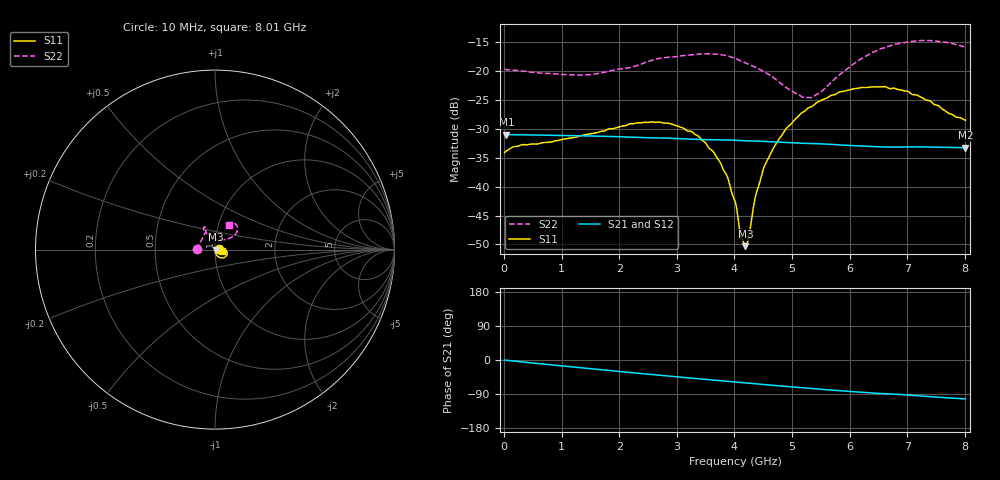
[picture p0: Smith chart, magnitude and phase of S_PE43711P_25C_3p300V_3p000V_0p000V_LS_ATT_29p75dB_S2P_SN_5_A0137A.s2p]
! Device ID: PE43711P
! File Path: z:\PE43711P\CHAR_NOM_04282014\AMB\3p300\LS_ATT_29p75dB\PE43711P_AMB_3p300V_3p000V_0p000V_LS_ATT_29p75dB_S2P_SN_5_A0137A.s2p
! Serial: 5
! Lot: A0137A
! Temp: 25C
! VDD: 3.300
! VSS: 0.000
! Control_Hi: 3.000
! Control_Lo: 0.000
! Attenuation Step: 29.75dB
! Port 1: RF1
! Port 2: RF2
! ThroughPath:1-2
! IDD: 0.0001277156
! ISS: -9.47e-008
#  Hz  S  RI  R  50
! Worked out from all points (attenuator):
!   801 points, 10 MHz to 8.01 GHz, reference 50 ohm
!   highest |S21| = -31.03 dB at 40 MHz (marker M1); lowest = -33.3 dB at 8.01 GHz (marker M2)
!   lowest |S11| = -50.3 dB at 4.19 GHz (marker M3), VSWR 1.01, Z = 50.3 - j0.0949 ohm
!   |S11| at or under -10 dB: start of sweep to end of sweep
!   |S22| runs from -24.7 to -14.8 dB; largest |S21 - S12| = 0.0001
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1e7  0.0196 0.00057  0.0281 -8.8e-05  0.0281 -0.000124  -0.1029 0.000789
4e7  0.0203 0.00111  0.0281 -0.000322  0.0281 -0.000326  -0.1021 0.00238
1.35e9  0.0266 0.00714  0.0257 -0.00967  0.0257 -0.00966  -0.0767 0.0502
2.68e9  0.032 0.0167  0.0202 -0.0168  0.0202 -0.0168  -0.0521 0.1163
3.25e9  0.0235 0.0184  0.0172 -0.019  0.0173 -0.019  -0.0544 0.1258
3.49e9  0.0173 0.0166  0.0161 -0.0197  0.0161 -0.0197  -0.0583 0.1272
3.76e9  0.0102 0.0122  0.0147 -0.0205  0.0147 -0.0205  -0.0624 0.1228
3.88e9  0.00753 0.00937  0.0141 -0.0209  0.0141 -0.0209  -0.0632 0.1181
4.01e9  0.00517 0.00539  0.0133 -0.0213  0.0133 -0.0213  -0.0626 0.1115
4.12e9  0.0034 0.00114  0.0127 -0.0215  0.0127 -0.0215  -0.0595 0.1053
4.19e9  0.00291 -0.000943  0.0123 -0.0216  0.0123 -0.0216  -0.057 0.1021
4.25e9  0.00221 -0.003  0.012 -0.0217  0.012 -0.0217  -0.0545 0.0996
4.38e9  0.00171 -0.00866  0.0113 -0.022  0.0113 -0.022  -0.0493 0.0941
4.55e9  0.00274 -0.0159  0.0103 -0.0222  0.0103 -0.0222  -0.0414 0.0864
4.9e9  0.0087 -0.0305  0.00829 -0.0225  0.0083 -0.0225  -0.0188 0.069
5.19e9  0.0182 -0.0399  0.00682 -0.0226  0.00682 -0.0226  0.00493 0.0588
5.35e9  0.0242 -0.043  0.006 -0.0227  0.00601 -0.0227  0.0213 0.0548
5.85e9  0.0478 -0.0455  0.00344 -0.0226  0.00345 -0.0226  0.0727 0.0603
6.26e9  0.0615 -0.0366  0.00173 -0.0223  0.00172 -0.0223  0.106 0.0781
6.68e9  0.0672 -0.0214  0.000254 -0.0219  0.000275 -0.0219  0.124 0.1059
7.34e9  0.0554 -0.00455  -0.00233 -0.0219  -0.00229 -0.0218  0.1149 0.1416
8.01e9  0.0369 -0.00644  -0.00474 -0.0211  -0.0048 -0.0211  0.077 0.1396
